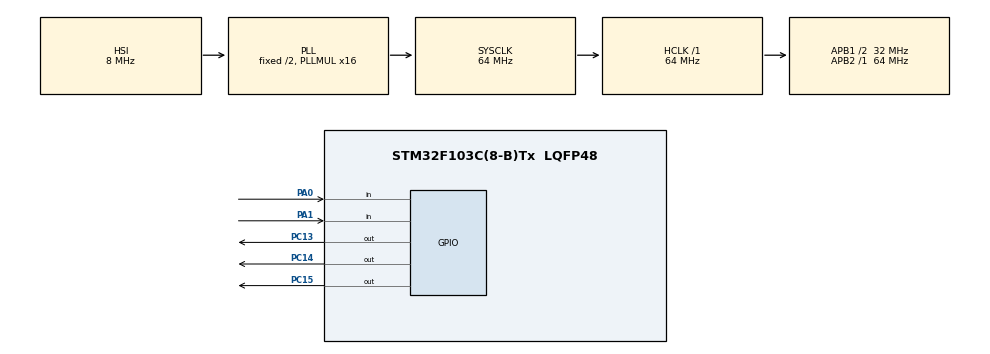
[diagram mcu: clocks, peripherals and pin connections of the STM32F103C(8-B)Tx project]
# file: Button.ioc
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Mcu.Family=STM32F1
Mcu.Name=STM32F103C(8-B)Tx
Mcu.Package=LQFP48
NVIC.PriorityGroup=NVIC_PRIORITYGROUP_4
PA0-WKUP.GPIO_PuPd=GPIO_PULLUP
PA0-WKUP.Signal=GPIO_Input
PA1.GPIO_PuPd=GPIO_PULLUP
PA1.Signal=GPIO_Input
PA13.Mode=Serial_Wire
PA13.Signal=SYS_JTMS-SWDIO
PA14.Mode=Serial_Wire
PA14.Signal=SYS_JTCK-SWCLK
PC13-TAMPER-RTC.Signal=GPIO_Output
PC14-OSC32_IN.Signal=GPIO_Output
PC15-OSC32_OUT.Signal=GPIO_Output
ProjectManager.HeapSize=0x200
ProjectManager.StackSize=0x400
ProjectManager.TargetToolchain=STM32CubeIDE
RCC.AHBFreq_Value=64000000
RCC.APB1CLKDivider=RCC_HCLK_DIV2
RCC.APB1Freq_Value=32000000
RCC.APB1TimFreq_Value=64000000
RCC.APB2Freq_Value=64000000
RCC.APB2TimFreq_Value=64000000
RCC.HCLKFreq_Value=64000000
RCC.PLLMUL=RCC_PLL_MUL16
RCC.SYSCLKFreq_VALUE=64000000
RCC.SYSCLKSource=RCC_SYSCLKSOURCE_PLLCLK
RCC.USBFreq_Value=64000000
board=custom

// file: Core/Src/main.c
/* USER CODE BEGIN Header */
/**
  ******************************************************************************
  * @file           : main.c
  * @brief          : Main program body
  ******************************************************************************
  * @attention
  *
  * Copyright (c) 2025 STMicroelectronics.
  * All rights reserved.
  *
  * This software is licensed under terms that can be found in the LICENSE file
  * in the root directory of this software component.
  * If no LICENSE file comes with this software, it is provided AS-IS.
  *
  ******************************************************************************
  */
/* USER CODE END Header */
#include "main.h"

/* USER CODE BEGIN Includes */
#include "Button.h"
/* USER CODE END Includes */

/* USER CODE BEGIN PTD */
typedef enum {
	LED_OFF, // cả hai led đều tắt
	LED1_BLINK_1HZ,
	LED2_BLINK_5HZ,
} LedStatus;
LedStatus led_status;
Button_Typedef button1;
Button_Typedef button2;
/* USER CODE END PTD */

/* USER CODE BEGIN PM */
void btn_release_callback(Button_Typedef * ButtonX) {

}
void btn_press_short_callback(Button_Typedef * ButtonX) {

}
void btn_press_timeout_callback(Button_Typedef * ButtonX) {
	HAL_GPIO_WritePin(GPIOC, GPIO_PIN_15, 0);

}
void btn_pressing_callback(Button_Typedef * ButtonX) {
	if(ButtonX == &button1) {
	switch(led_status) {
			case LED_OFF:
				led_status = LED1_BLINK_1HZ;
				break;
			case LED1_BLINK_1HZ:
				led_status = LED2_BLINK_5HZ;
				break;
			case LED2_BLINK_5HZ:
				led_status = LED_OFF;
				break;
		}
	}
}
void led1Blink1Hz() {
	static uint32_t tled1_blink;
	if(HAL_GetTick() - tled1_blink >= 500) {
		HAL_GPIO_TogglePin(GPIOC, GPIO_PIN_13);
		tled1_blink = HAL_GetTick();
	}
}
void led2Blink5Hz() {
	static uint32_t tled1_blink;
	if(HAL_GetTick() - tled1_blink >= 100) {
		HAL_GPIO_TogglePin(GPIOC, GPIO_PIN_14);
		tled1_blink = HAL_GetTick();
	}
}
void lefOff() {
	HAL_GPIO_WritePin(GPIOC, GPIO_PIN_13, 1);
	HAL_GPIO_WritePin(GPIOC, GPIO_PIN_14, 0);

}
void led_handle() {
	switch(led_status) {
		case LED_OFF:
			lefOff();
			break;
		case LED1_BLINK_1HZ:
			led1Blink1Hz();
			break;
		case LED2_BLINK_5HZ:
			led2Blink5Hz();
			break;
	}
}
/* USER CODE END PM */

void SystemClock_Config(void);
static void MX_GPIO_Init(void);

int main(void)
{

  /* MCU Configuration--------------------------------------------------------*/

  /* Reset of all peripherals, Initializes the Flash interface and the Systick. */
  HAL_Init();

  /* Configure the system clock */
  SystemClock_Config();

  /* Initialize all configured peripherals */
  MX_GPIO_Init();
  /* USER CODE BEGIN 2 */
  led_status = LED_OFF;
  button_init(&button1, GPIOA, GPIO_PIN_0);
  button_init(&button2, GPIOA, GPIO_PIN_1);
  /* USER CODE END 2 */

  /* Infinite loop */
  while (1)
  {

    /* USER CODE BEGIN 3 */
	  button_handle(&button1);
	  button_handle(&button2);
	  led_handle();
  }
  /* USER CODE END 3 */
}

void SystemClock_Config(void)
{
  RCC_OscInitTypeDef RCC_OscInitStruct = {0};
  RCC_ClkInitTypeDef RCC_ClkInitStruct = {0};

  /** Initializes the RCC Oscillators according to the specified parameters
  * in the RCC_OscInitTypeDef structure.
  */
  RCC_OscInitStruct.OscillatorType = RCC_OSCILLATORTYPE_HSI;
  RCC_OscInitStruct.HSIState = RCC_HSI_ON;
  RCC_OscInitStruct.HSICalibrationValue = RCC_HSICALIBRATION_DEFAULT;
  RCC_OscInitStruct.PLL.PLLState = RCC_PLL_ON;
  RCC_OscInitStruct.PLL.PLLSource = RCC_PLLSOURCE_HSI_DIV2;
  RCC_OscInitStruct.PLL.PLLMUL = RCC_PLL_MUL16;
  if (HAL_RCC_OscConfig(&RCC_OscInitStruct) != HAL_OK)
  {
    Error_Handler();
  }

  /** Initializes the CPU, AHB and APB buses clocks
  */
  RCC_ClkInitStruct.ClockType = RCC_CLOCKTYPE_HCLK|RCC_CLOCKTYPE_SYSCLK
                              |RCC_CLOCKTYPE_PCLK1|RCC_CLOCKTYPE_PCLK2;
  RCC_ClkInitStruct.SYSCLKSource = RCC_SYSCLKSOURCE_PLLCLK;
  RCC_ClkInitStruct.AHBCLKDivider = RCC_SYSCLK_DIV1;
  RCC_ClkInitStruct.APB1CLKDivider = RCC_HCLK_DIV2;
  RCC_ClkInitStruct.APB2CLKDivider = RCC_HCLK_DIV1;

  if (HAL_RCC_ClockConfig(&RCC_ClkInitStruct, FLASH_LATENCY_2) != HAL_OK)
  {
    Error_Handler();
  }
}

static void MX_GPIO_Init(void)
{
  GPIO_InitTypeDef GPIO_InitStruct = {0};

  /* GPIO Ports Clock Enable */
  __HAL_RCC_GPIOC_CLK_ENABLE();
  __HAL_RCC_GPIOA_CLK_ENABLE();

  /*Configure GPIO pin Output Level */
  HAL_GPIO_WritePin(GPIOC, GPIO_PIN_13|GPIO_PIN_14|GPIO_PIN_15, GPIO_PIN_RESET);

  /*Configure GPIO pins : PC13 PC14 PC15 */
  GPIO_InitStruct.Pin = GPIO_PIN_13|GPIO_PIN_14|GPIO_PIN_15;
  GPIO_InitStruct.Mode = GPIO_MODE_OUTPUT_PP;
  GPIO_InitStruct.Pull = GPIO_NOPULL;
  GPIO_InitStruct.Speed = GPIO_SPEED_FREQ_LOW;
  HAL_GPIO_Init(GPIOC, &GPIO_InitStruct);

  /*Configure GPIO pins : PA0 PA1 */
  GPIO_InitStruct.Pin = GPIO_PIN_0|GPIO_PIN_1;
  GPIO_InitStruct.Mode = GPIO_MODE_INPUT;
  GPIO_InitStruct.Pull = GPIO_PULLUP;
  HAL_GPIO_Init(GPIOA, &GPIO_InitStruct);

}

void Error_Handler(void)
{
  __disable_irq();
  while (1)
  {
  }
}
